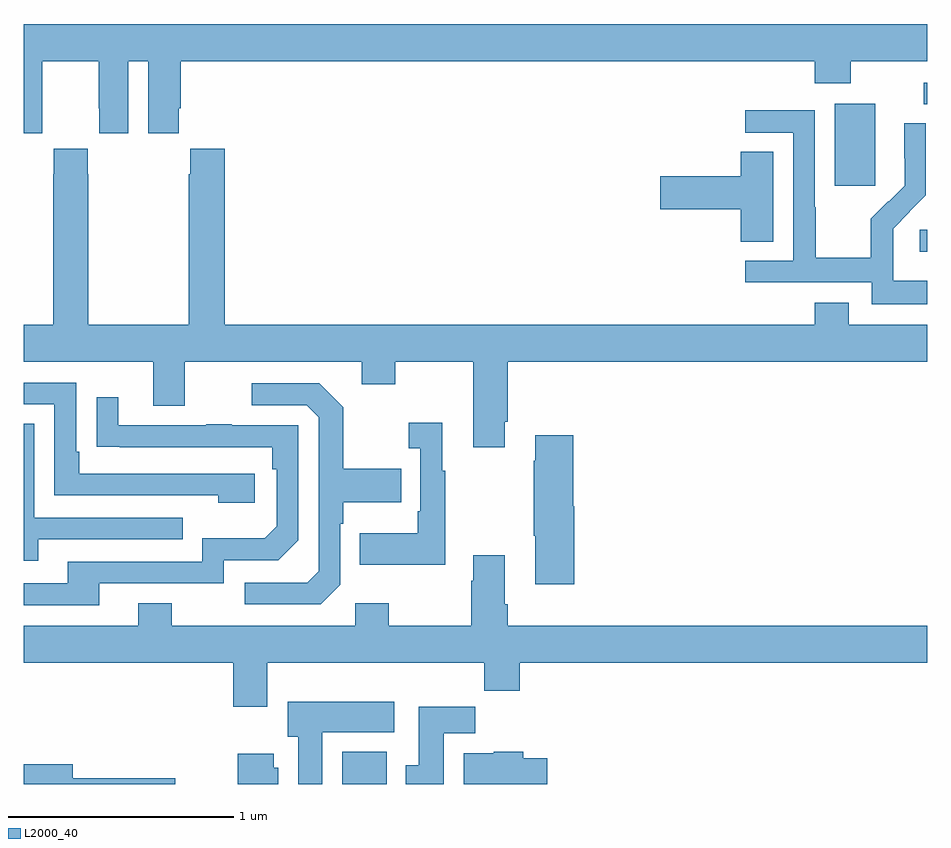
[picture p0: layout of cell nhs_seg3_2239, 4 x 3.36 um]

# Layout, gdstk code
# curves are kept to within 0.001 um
import gdstk
lib = gdstk.Library(unit=1e-6, precision=1e-09)
def R(c, l, rs):  # rectangles x0, y0, x1, y1
    for r in rs: c.add(gdstk.rectangle(r[:2], r[2:], *l))
def P(c, l, *ps):  # polygons
    for p in ps: c.add(gdstk.Polygon(p, *l))
L2000_40 = (2000, 40)

nhs_seg3_2239 = lib.new_cell('nhs_seg3_2239')
R(nhs_seg3_2239, L2000_40, [(228.411,680.4,228.607,680.542), (230.967,682.757,231,682.854), (230.591,683.049,230.77,683.41), (230.985,683.409,231,683.505)])
P(nhs_seg3_2239, L2000_40, [(227.082,683.392),(227.083,683.392),(227.083,683.6),(227.333,683.6),(227.333,683.392),(227.334,683.392),(227.334,683.28),(227.464,683.28),(227.464,683.6),(227.552,683.6),(227.552,683.28),(227.686,683.28),(227.686,683.392),(227.696,683.392),(227.696,683.6),(230.501,683.6),(230.501,683.501),(230.661,683.501),(230.661,683.6),(231,683.6),(231,683.764),(227,683.764),(227,683.28),(227.082,683.28)],
  [(231,682.627),(230.85,682.627),(230.85,682.761),(230.848,682.761),(230.848,682.858),(230.994,683.006),(230.994,683.324),(230.898,683.324),(230.898,683.17),(230.9,683.17),(230.9,683.048),(230.829,682.977),(230.826,682.98),(230.749,682.903),(230.749,682.729),(230.505,682.729),(230.505,682.952),(230.502,682.952),(230.502,683.382),(230.193,683.382),(230.193,683.283),(230.406,683.283),(230.406,682.716),(230.193,682.716),(230.193,682.62),(230.754,682.62),(230.754,682.523),(231,682.523)],
  [(229.129,682.003),(229.142,682.003),(229.142,682.268),(231,682.268),(231,682.432),(230.653,682.432),(230.653,682.531),(230.501,682.531),(230.501,682.432),(227.891,682.432),(227.891,683.212),(227.737,683.212),(227.737,683.099),(227.731,683.099),(227.731,682.432),(227.286,682.432),(227.286,683.099),(227.283,683.099),(227.283,683.212),(227.133,683.212),(227.133,683.099),(227.131,683.099),(227.131,682.432),(227,682.432),(227,682.268),(227.573,682.268),(227.573,682.074),(227.713,682.074),(227.713,682.268),(228.497,682.268),(228.497,682.169),(228.645,682.169),(228.645,682.268),(228.989,682.268),(228.989,681.891),(229.129,681.891)],
  [(230.317,683.198),(230.174,683.198),(230.174,683.09),(229.818,683.09),(229.818,682.943),(230.174,682.943),(230.174,682.801),(230.317,682.801)],
  [(228.022,681.774),(227.245,681.774),(227.245,681.871),(227.232,681.871),(227.232,682.176),(227,682.176),(227,682.08),(227.136,682.08),(227.136,681.678),(227.861,681.678),(227.861,681.644),(228.022,681.644)],
  [(228.402,681.282),(228.402,681.551),(228.415,681.551),(228.415,681.647),(228.671,681.647),(228.671,681.795),(228.415,681.795),(228.415,682.067),(228.309,682.173),(228.009,682.173),(228.009,682.077),(228.252,682.077),(228.306,682.023),(228.306,681.342),(228.255,681.291),(227.979,681.291),(227.979,681.195),(228.315,681.195)],
  [(227.335,681.288),(227.886,681.288),(227.886,681.39),(228.126,681.39),(228.216,681.48),(228.216,681.987),(227.921,681.987),(227.921,681.992),(227.809,681.992),(227.809,681.987),(227.419,681.987),(227.419,682.111),(227.323,682.111),(227.323,681.892),(228.1,681.891),(228.1,681.794),(228.12,681.794),(228.12,681.54),(228.067,681.487),(227.79,681.487),(227.79,681.384),(227.195,681.384),(227.195,681.288),(227,681.288),(227,681.192),(227.335,681.192)],
  [(228.865,681.787),(228.853,681.787),(228.853,682),(228.705,682),(228.705,681.887),(228.756,681.887),(228.756,681.607),(228.744,681.607),(228.744,681.511),(228.487,681.511),(228.487,681.371),(228.865,681.371)],
  [(227.065,681.483),(227.705,681.483),(227.705,681.579),(227.046,681.579),(227.046,681.995),(227,681.995),(227,681.389),(227.065,681.389)],
  [(229.438,681.63),(229.433,681.63),(229.433,681.943),(229.265,681.943),(229.265,681.83),(229.258,681.83),(229.258,681.499),(229.265,681.499),(229.265,681.284),(229.438,681.284)],
  [(229.129,681.196),(229.129,681.412),(228.989,681.412),(228.989,681.299),(228.982,681.299),(228.982,681.1),(228.615,681.1),(228.615,681.199),(228.468,681.199),(228.468,681.1),(227.655,681.1),(227.655,681.199),(227.507,681.199),(227.507,681.1),(227,681.1),(227,680.936),(227.927,680.936),(227.927,680.742),(228.079,680.742),(228.079,680.936),(229.039,680.936),(229.039,680.812),(229.196,680.812),(229.196,680.936),(231,680.936),(231,681.1),(229.142,681.1),(229.142,681.196)],
  [(228.322,680.63),(228.64,680.63),(228.64,680.764),(228.17,680.764),(228.17,680.61),(228.215,680.61),(228.215,680.4),(228.322,680.4)],
  [(228.859,680.624),(228.998,680.624),(228.998,680.743),(228.749,680.743),(228.749,680.484),(228.692,680.484),(228.692,680.4),(228.859,680.4)],
  [(229.318,680.514),(229.211,680.514),(229.211,680.542),(229.08,680.542),(229.08,680.536),(228.947,680.536),(228.947,680.4),(229.318,680.4)],
  [(228.127,680.472),(228.106,680.472),(228.106,680.533),(227.948,680.533),(227.948,680.4),(228.127,680.4)],
  [(227.671,680.426),(227.218,680.426),(227.218,680.488),(227,680.488),(227,680.4),(227.671,680.4)])

lib.write_gds('nhs_seg3_2239.gds')
